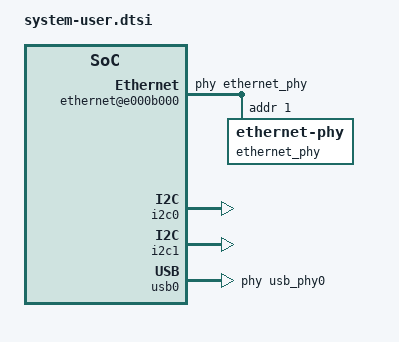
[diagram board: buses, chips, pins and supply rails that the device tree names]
/include/ "system-conf.dtsi"
/ {
	amba {

		audio0:audio-codec-ctrl@43c00000 {
			compatible = "xlnk,audio-codec-ctrl-1.0";
			reg = <0x43c00000 0x10000>;
		};

		ethernet@e000b000 {
			phy-handle = <&ethernet_phy>;
			ethernet_phy: ethernet-phy@1{
				reg = <1>;
			};
		};
	};
        usb_phy0: phy0 {
                compatible = "ulpi-phy";
                #phy-cells = <0>;
                reg = <0xe0002000 0x1000>;
                view-port = <0x170>;
                drv-vbus;
        };
};

&i2c0 {
	status = "okay";
};

&i2c1 {
	status = "okay";
};

&audio0 {
		compatible = "generic-uio";
};

&usb0 {
        usb-phy = <&usb_phy0>;
};

